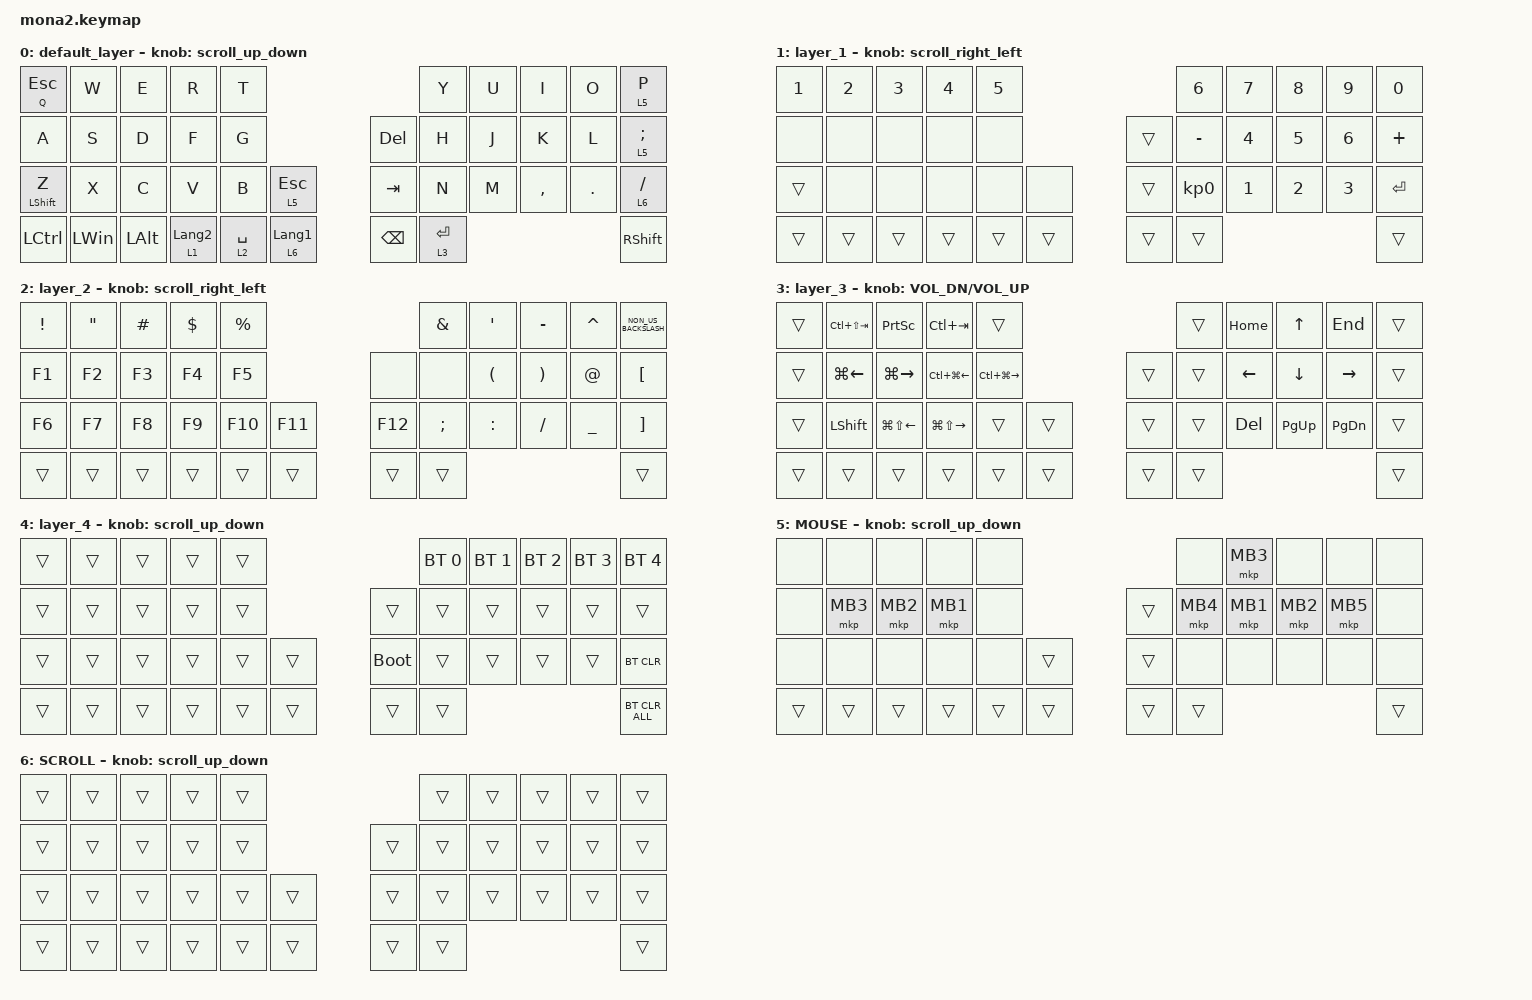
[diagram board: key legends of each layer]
#include <input/processors.dtsi>
#include <dt-bindings/zmk/input_transform.h>
#include <zephyr/dt-bindings/input/input-event-codes.h>
#include <behaviors.dtsi>
#include <dt-bindings/zmk/bt.h>
#include <dt-bindings/zmk/keys.h>
#include <dt-bindings/zmk/pointing.h>

#define ZMK_POINTING_DEFAULT_SCRL_VAL 100
#define MOUSE 5
#define SCROLL 6

&mt {
    flavor = "balanced";
    quick-tap-ms = <0>;
};

&lt {
    quick-tap-ms = <300>;
    flavor = "balanced";
};

/ {
    combos {
        compatible = "zmk,combos";

        layer4_ESC {
            bindings = <&lt 4 ESC>;
            key-positions = <39 38>;
        };

        tab {
            bindings = <&kp TAB>;
            key-positions = <11 12>;
        };
    };

    macros {
        to_layer_0: to_layer_0 {
            compatible = "zmk,behavior-macro-one-param";
            #binding-cells = <1>;
            bindings = <&to 0 &macro_param_1to1 &kp MACRO_PLACEHOLDER>;
            label = "TO_LAYER_0";
        };
    };

    behaviors {
        lt_to_layer_0: lt_to_layer_0 {
            compatible = "zmk,behavior-hold-tap";
            label = "LAYER_TAP_TO_0";
            bindings = <&mo>, <&to_layer_0>;

            #binding-cells = <2>;
            tapping-term-ms = <200>;
        };

        scroll_up_down: mouse_wheel_up_down {
            compatible = "zmk,behavior-sensor-rotate";
            #sensor-binding-cells = <0>;
            bindings = <&msc SCRL_DOWN>, <&msc SCRL_UP>;

            tap-ms = <20>;
        };

        scroll_right_left: mouse_wheel_right_left {
            compatible = "zmk,behavior-sensor-rotate";
            #sensor-binding-cells = <0>;
            bindings = <&msc SCRL_LEFT>, <&msc SCRL_RIGHT>;

            tap-ms = <20>;
        };
    };

    keymap {
        compatible = "zmk,keymap";

        default_layer {
            bindings = <
&mt Q ESCAPE      &kp W         &kp E         &kp R             &kp T                                                      &kp Y        &kp U  &kp I      &kp O    &lt 5 P
&kp A             &kp S         &kp D         &kp F             &kp G                                       &kp DELETE     &kp H        &kp J  &kp K      &kp L    &lt 5 SEMICOLON
&mt LEFT_SHIFT Z  &kp X         &kp C         &kp V             &kp B        &lt 5 ESCAPE                   &kp TAB        &kp N        &kp M  &kp COMMA  &kp DOT  &lt 6 SLASH
&kp LCTRL         &kp LEFT_WIN  &kp LEFT_ALT  &lt 1 LANGUAGE_2  &lt 2 SPACE  &lt_to_layer_0 6 LANGUAGE_1    &kp BACKSPACE  &lt 3 ENTER                             &kp RIGHT_SHIFT
            >;

            sensor-bindings = <&scroll_up_down>;
        };

        layer_1 {
            bindings = <
&kp NUMBER_1  &kp NUMBER_2  &kp NUMBER_3  &kp NUMBER_4  &kp NUMBER_5                    &kp NUMBER_6     &kp NUMBER_7  &kp NUMBER_8  &kp NUMBER_9  &kp NUMBER_0
&none         &none         &none         &none         &none                   &trans  &kp MINUS        &kp NUMBER_4  &kp N5        &kp NUMBER_6  &kp PLUS
&trans        &none         &none         &none         &none         &none     &trans  &kp KP_NUMBER_0  &kp NUMBER_1  &kp NUMBER_2  &kp NUMBER_3  &kp ENTER
&trans        &trans        &trans        &trans        &trans        &trans    &trans  &trans                                                     &trans
            >;

            sensor-bindings = <&scroll_right_left>;
        };

        layer_2 {
            bindings = <
&kp EXCLAMATION  &kp DOUBLE_QUOTES  &kp POUND  &kp DOLLAR  &kp PERCENT                      &kp AMPERSAND  &kp SQT               &kp MINUS              &kp CARET    &kp NON_US_BACKSLASH
&kp F1           &kp F2             &kp F3     &kp F4      &kp F5                  &none    &none          &kp LEFT_PARENTHESIS  &kp RIGHT_PARENTHESIS  &kp AT_SIGN  &kp LEFT_BRACKET
&kp F6           &kp F7             &kp F8     &kp F9      &kp F10      &kp F11    &kp F12  &kp SEMI       &kp COLON             &kp SLASH              &kp UNDER    &kp RIGHT_BRACKET
&trans           &trans             &trans     &trans      &trans       &trans     &trans   &trans                                                                   &trans
            >;

            sensor-bindings = <&scroll_right_left>;
        };

        layer_3 {
            bindings = <
&trans  &kp LC(LS(TAB))     &kp PRINTSCREEN         &kp LC(TAB)              &trans                                     &trans  &kp HOME        &kp UP_ARROW    &kp END          &trans
&trans  &kp LG(LEFT_ARROW)  &kp LG(RIGHT_ARROW)     &kp LC(LG(LEFT_ARROW))   &kp LC(LG(RIGHT_ARROW))            &trans  &trans  &kp LEFT_ARROW  &kp DOWN_ARROW  &kp RIGHT_ARROW  &trans
&trans  &kp LEFT_SHIFT      &kp LG(LS(LEFT_ARROW))  &kp LG(LS(RIGHT_ARROW))  &trans                   &trans    &trans  &trans  &kp DELETE      &kp PAGE_UP     &kp PAGE_DOWN    &trans
&trans  &trans              &trans                  &trans                   &trans                   &trans    &trans  &trans                                                   &trans
            >;

            sensor-bindings = <&inc_dec_kp C_VOL_DN C_VOL_UP>;
        };

        layer_4 {
            bindings = <
&trans  &trans  &trans  &trans  &trans                         &bt BT_SEL 0  &bt BT_SEL 1  &bt BT_SEL 2  &bt BT_SEL 3  &bt BT_SEL 4
&trans  &trans  &trans  &trans  &trans            &trans       &trans        &trans        &trans        &trans        &trans
&trans  &trans  &trans  &trans  &trans  &trans    &bootloader  &trans        &trans        &trans        &trans        &bt BT_CLR
&trans  &trans  &trans  &trans  &trans  &trans    &trans       &trans                                                  &bt BT_CLR_ALL
            >;

            sensor-bindings = <&scroll_up_down>;
        };

        MOUSE {
            bindings = <
&none   &none     &none     &none     &none                     &none     &mkp MB3  &none     &none     &none
&none   &mkp MB3  &mkp MB2  &mkp MB1  &none             &trans  &mkp MB4  &mkp MB1  &mkp MB2  &mkp MB5  &none
&none   &none     &none     &none     &none   &trans    &trans  &none     &none     &none     &none     &none
&trans  &trans    &trans    &trans    &trans  &trans    &trans  &trans                                  &trans
            >;

            sensor-bindings = <&scroll_up_down>;
        };

        SCROLL {
            bindings = <
&trans  &trans  &trans  &trans  &trans                    &trans  &trans  &trans  &trans  &trans
&trans  &trans  &trans  &trans  &trans            &trans  &trans  &trans  &trans  &trans  &trans
&trans  &trans  &trans  &trans  &trans  &trans    &trans  &trans  &trans  &trans  &trans  &trans
&trans  &trans  &trans  &trans  &trans  &trans    &trans  &trans                          &trans
            >;

            sensor-bindings = <&scroll_up_down>;
        };
    };
};
